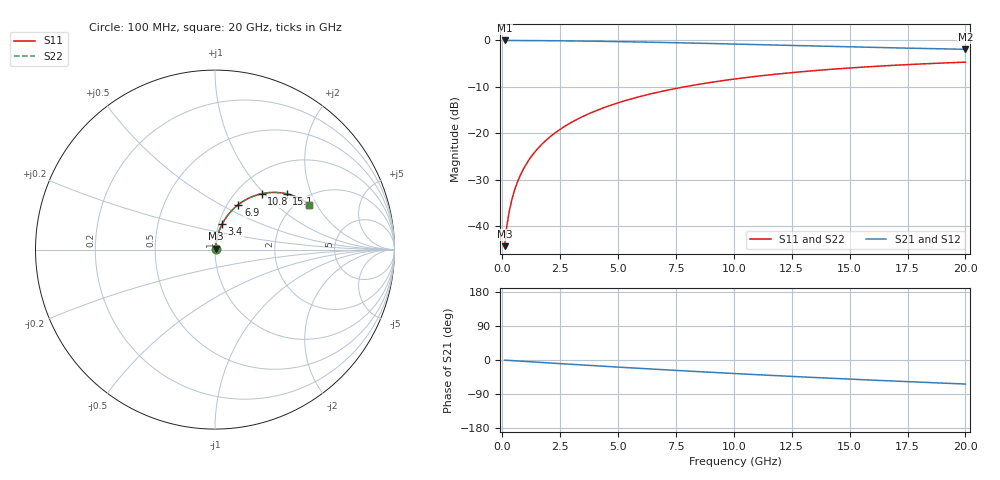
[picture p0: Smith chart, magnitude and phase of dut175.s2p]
! Touchstone file exported from HFSS 2026.1.0
!  File:  C:/ffzhzh/LocalFiles/Ansys_Project_Files/temp_train_BSMRDL_175_1782987083_6248.aedt
!  Generated:  06:13:02 PM Jul  2, 2026
!  Design:  BSMRDL
!  Project:  temp_train_BSMRDL_175_1782987083_6248
! Variables:
!  h_bsmrdl = 4.77um
!  h_ox = 20um
!  h_rdl = 5um
!  h_sub = 80um
!  h_tmrdl = 5um
!  h_tsv = 80um
!  h_via = 3um
!  l_bsmrdl = 972.76um
!  l_sub = 1372.76um
!  l_tmrdl = 200um
!  m_sub = 200um
!  pitch = 58.53um
!  r_tsv = 6um
!  s_tmrdl = 10um
!  w_bsmrdl = 18.99um
!  w_sub = 500um
!  w_tmrdl = 12um
!  x_tsv_center1 = 206um
!  x_tsv_center2 = 1197.75um
!  x_tsv_center3 = 1409.75um
!  x_tsv_center4 = 2401.5um
!  x_tsv_center5 = 2613.5um
!  x_tsv_center6 = 3605.25um
# GHz S MA R 50.000000
! Terminal data exported
! Port[1] = BSM_RDL1_1_T1
! Port[2] = BSM_RDL1_1_T2
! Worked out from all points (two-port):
!   200 points, 100 MHz to 20 GHz, reference 50 ohm
!   highest |S21| = -0.03 dB at 100 MHz (marker M1); lowest = -1.9 dB at 20 GHz (marker M2)
!   |S21| within 3 dB of the highest: start of sweep to end of sweep
!   lowest |S11| = -44.2 dB at 100 MHz (marker M3), VSWR 1.01, Z = 50.4 + j0.474 ohm
!   |S11| at or under -10 dB: start of sweep to 7.864 GHz
!   |S22| runs from -44.2 to -4.7 dB; largest |S21 - S12| = 3.6e-15
!   S11 on the Smith chart (normalised r, x): 100 MHz: 1.01, +0.01; 3.4 GHz: 1.04, +0.30; 6.9 GHz: 1.12, +0.61; 10.8 GHz: 1.30, +0.97; 15.1 GHz: 1.63, +1.36; 20 GHz: 2.30, +1.74
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0.1  0.006139 50.0  0.9961 -0.4  0.9961 -0.4  0.006139 50.0
! Gamma 0 0 0 0
! Port Impedance 50 0 50 0
0.2  0.01021 65.6  0.9959 -0.8  0.9959 -0.8  0.01021 65.6
0.3  0.01451 71.8  0.9956 -1.2  0.9956 -1.2  0.01451 71.8
0.4  0.01886 75.0  0.9954 -1.6  0.9954 -1.6  0.01886 75.0
0.5  0.02323 76.9  0.9952 -2.0  0.9952 -2.0  0.02323 76.9
0.7  0.03201 78.9  0.9948 -2.7  0.9948 -2.7  0.03201 78.9
1  0.04523 80.0  0.9941 -3.9  0.9941 -3.9  0.04523 80.0
1.4  0.06286 79.9  0.9929 -5.4  0.9929 -5.4  0.06286 79.9
2  0.0891 78.7  0.9904 -7.7  0.9904 -7.7  0.0891 78.7
2.6  0.1149 76.9  0.9872 -10.0  0.9872 -10.0  0.1149 76.9
3.4  0.1486 74.3  0.9818 -12.9  0.9818 -12.9  0.1486 74.3
3.5  0.1528 74.0  0.9811 -13.3  0.9811 -13.3  0.1528 74.0
5  0.2129 68.9  0.9683 -18.8  0.9683 -18.8  0.2129 68.9
6.8  0.2797 62.8  0.9498 -25.1  0.9498 -25.1  0.2797 62.8
6.9  0.2832 62.5  0.9487 -25.4  0.9487 -25.4  0.2832 62.5
8.4  0.3338 57.6  0.9314 -30.5  0.9314 -30.5  0.3338 57.6
10.1  0.3858 52.3  0.9106 -36.0  0.9106 -36.0  0.3858 52.2
10.8  0.4055 50.1  0.9019 -38.2  0.9019 -38.2  0.4055 50.1
13.4  0.4705 42.5  0.8697 -45.9  0.8697 -45.9  0.4705 42.5
15.1  0.5061 37.9  0.8496 -50.7  0.8496 -50.7  0.5061 37.9
16.7  0.5352 33.6  0.8319 -55.0  0.8319 -55.0  0.5352 33.6
20  0.5825 25.4  0.8001 -63.4  0.8001 -63.4  0.5825 25.4
